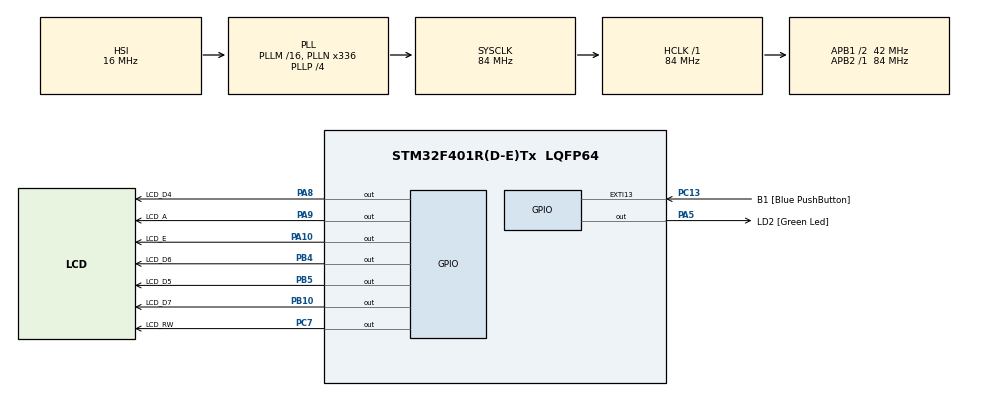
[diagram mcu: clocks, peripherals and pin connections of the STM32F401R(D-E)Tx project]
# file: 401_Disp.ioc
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Mcu.Family=STM32F4
Mcu.Name=STM32F401R(D-E)Tx
Mcu.Package=LQFP64
NVIC.PriorityGroup=NVIC_PRIORITYGROUP_0
PA10.GPIO_Label=LCD_E
PA10.Signal=GPIO_Output
PA13.GPIO_Label=TMS
PA13.Mode=Serial_Wire
PA13.Signal=SYS_JTMS-SWDIO
PA14.GPIO_Label=TCK
PA14.Mode=Serial_Wire
PA14.Signal=SYS_JTCK-SWCLK
PA5.GPIO_Label=LD2 [Green Led]
PA5.GPIO_Mode=GPIO_MODE_OUTPUT_PP
PA5.GPIO_PuPd=GPIO_NOPULL
PA5.GPIO_Speed=GPIO_SPEED_FREQ_LOW
PA5.Signal=GPIO_Output
PA8.GPIO_Label=LCD_D4
PA8.Signal=GPIO_Output
PA9.GPIO_Label=LCD_A
PA9.Signal=GPIO_Output
PB10.GPIO_Label=LCD_D7
PB10.Signal=GPIO_Output
PB3.GPIO_Label=SWO
PB3.Signal=SYS_JTDO-SWO
PB4.GPIO_Label=LCD_D6
PB4.Signal=GPIO_Output
PB5.GPIO_Label=LCD_D5
PB5.Signal=GPIO_Output
PC13-ANTI_TAMP.GPIO_Label=B1 [Blue PushButton]
PC13-ANTI_TAMP.GPIO_ModeDefaultEXTI=GPIO_MODE_IT_FALLING
PC13-ANTI_TAMP.GPIO_PuPd=GPIO_NOPULL
PC13-ANTI_TAMP.Signal=GPXTI13
PC14-OSC32_IN.Mode=LSE-External-Oscillator
PC14-OSC32_IN.Signal=RCC_OSC32_IN
PC15-OSC32_OUT.Mode=LSE-External-Oscillator
PC15-OSC32_OUT.Signal=RCC_OSC32_OUT
PC7.GPIO_Label=LCD_RW
PC7.Signal=GPIO_Output
PH0\ -\ OSC_IN.Mode=HSE-External-Clock-Source
PH0\ -\ OSC_IN.Signal=RCC_OSC_IN
PH1\ -\ OSC_OUT.Mode=HSE-External-Clock-Source
PH1\ -\ OSC_OUT.Signal=RCC_OSC_OUT
ProjectManager.HeapSize=0x200
ProjectManager.StackSize=0x400
ProjectManager.TargetToolchain=STM32CubeIDE
RCC.48MHZClocksFreq_Value=48000000
RCC.AHBFreq_Value=84000000
RCC.APB1CLKDivider=RCC_HCLK_DIV2
RCC.APB1Freq_Value=42000000
RCC.APB1TimFreq_Value=84000000
RCC.APB2Freq_Value=84000000
RCC.APB2TimFreq_Value=84000000
RCC.CortexFreq_Value=84000000
RCC.HCLKFreq_Value=84000000
RCC.HSE_VALUE=8000000
RCC.HSI_VALUE=16000000
RCC.PLLN=336
RCC.PLLP=RCC_PLLP_DIV4
RCC.PLLQ=7
RCC.SYSCLKFreq_VALUE=84000000
RCC.SYSCLKSource=RCC_SYSCLKSOURCE_PLLCLK
RCC.VCOOutputFreq_Value=336000000
board=NUCLEO-F401RE

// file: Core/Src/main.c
/* USER CODE BEGIN Header */
/**
  ******************************************************************************
  * @file           : main.c
  * @brief          : Main program body
  ******************************************************************************
  * @attention
  *
  * Copyright (c) 2023 STMicroelectronics.
  * All rights reserved.
  *
  * This software is licensed under terms that can be found in the LICENSE file
  * in the root directory of this software component.
  * If no LICENSE file comes with this software, it is provided AS-IS.
  *
  ******************************************************************************
  */
/* USER CODE END Header */
#include "main.h"

void SystemClock_Config(void);
static void MX_GPIO_Init(void);

int main(void)
{

  /* MCU Configuration--------------------------------------------------------*/

  /* Reset of all peripherals, Initializes the Flash interface and the Systick. */
  HAL_Init();

  /* Configure the system clock */
  SystemClock_Config();

  /* Initialize all configured peripherals */
  MX_GPIO_Init();
  /* USER CODE BEGIN 2 */

  HAL_GPIO_WritePin(LCD_RW_GPIO_Port, LCD_RW_Pin, 0);

  HAL_Delay(1000);

  void send_nibble(uint8_t nibble){
	  HAL_GPIO_WritePin(LCD_D4_GPIO_Port, LCD_D4_Pin, nibble & (1<<0));
	  HAL_GPIO_WritePin(LCD_D5_GPIO_Port, LCD_D5_Pin, nibble & (1<<1));
	  HAL_GPIO_WritePin(LCD_D6_GPIO_Port, LCD_D6_Pin, nibble & (1<<2));
	  HAL_GPIO_WritePin(LCD_D7_GPIO_Port, LCD_D7_Pin, nibble & (1<<3));

	  HAL_GPIO_WritePin(LCD_E_GPIO_Port, LCD_E_Pin, 1);
	  HAL_Delay(10);
	  HAL_GPIO_WritePin(LCD_E_GPIO_Port, LCD_E_Pin, 0);
	  HAL_Delay(10);
  }

  // Отправка команд дисплея
  void send_command(uint8_t command){
	  HAL_GPIO_WritePin(LCD_A_GPIO_Port, LCD_A_Pin, 0);

	  send_nibble(command>>4);
	  send_nibble(command);

  }

//  Отправка данных в дисплей (символов)
  void send_data(uint8_t data){
  	  HAL_GPIO_WritePin(LCD_A_GPIO_Port, LCD_A_Pin, 1);

  	  send_nibble(data>>4);
  	  send_nibble(data);

  }

  void set_cursor(uint8_t row, uint8_t position){
	  if(row == 1 && position <= 16){
		  send_command(0b10000000 + (position-1));
	  }
	  if(row == 2 && position <= 16){
		  send_command(0b11000000 + (position -1));
	  }
  }

  void init_display(uint8_t row, uint8_t position){
	  send_command(0b00110011);
	  send_command(0b00110010);
	  send_command(0b00101000);
	  send_command(0b00001111);
	  send_command(0b00000001);
	  send_command(0b00000110);

	  set_cursor(row, position);
  }

// Отправка строчки на латинице для вывода на дисплей
  void send_string(char *string){
	  for(uint8_t i = 0; string[i] != '\0'; ++i){
		  if(i % 15 == 0 && i != 0){
			  if(i % 30 == 0){
				  send_data(string[i]);
				  HAL_Delay(3000);
				  set_cursor(1, 1);
				  send_command(0b00000001);
			  }
			  else {
				  send_data(string[i]);
				  set_cursor(2, 1);
			  }
		  }
		  else {
			  send_data(string[i]);
		  }
	  }
  }

//  Инициализация Дисплея

  init_display(1, 1);

  send_string("How are you? My name is Nikolai! Oh my God, it's interesting! Bro, can you drop me money?");

  /* USER CODE END 2 */

  /* Infinite loop */
  while (1)
  {

  }
}

void SystemClock_Config(void)
{
  RCC_OscInitTypeDef RCC_OscInitStruct = {0};
  RCC_ClkInitTypeDef RCC_ClkInitStruct = {0};

  /** Configure the main internal regulator output voltage
  */
  __HAL_RCC_PWR_CLK_ENABLE();
  __HAL_PWR_VOLTAGESCALING_CONFIG(PWR_REGULATOR_VOLTAGE_SCALE2);
  /** Initializes the RCC Oscillators according to the specified parameters
  * in the RCC_OscInitTypeDef structure.
  */
  RCC_OscInitStruct.OscillatorType = RCC_OSCILLATORTYPE_HSI;
  RCC_OscInitStruct.HSIState = RCC_HSI_ON;
  RCC_OscInitStruct.HSICalibrationValue = RCC_HSICALIBRATION_DEFAULT;
  RCC_OscInitStruct.PLL.PLLState = RCC_PLL_ON;
  RCC_OscInitStruct.PLL.PLLSource = RCC_PLLSOURCE_HSI;
  RCC_OscInitStruct.PLL.PLLM = 16;
  RCC_OscInitStruct.PLL.PLLN = 336;
  RCC_OscInitStruct.PLL.PLLP = RCC_PLLP_DIV4;
  RCC_OscInitStruct.PLL.PLLQ = 7;
  if (HAL_RCC_OscConfig(&RCC_OscInitStruct) != HAL_OK)
  {
    Error_Handler();
  }
  /** Initializes the CPU, AHB and APB buses clocks
  */
  RCC_ClkInitStruct.ClockType = RCC_CLOCKTYPE_HCLK|RCC_CLOCKTYPE_SYSCLK
                              |RCC_CLOCKTYPE_PCLK1|RCC_CLOCKTYPE_PCLK2;
  RCC_ClkInitStruct.SYSCLKSource = RCC_SYSCLKSOURCE_PLLCLK;
  RCC_ClkInitStruct.AHBCLKDivider = RCC_SYSCLK_DIV1;
  RCC_ClkInitStruct.APB1CLKDivider = RCC_HCLK_DIV2;
  RCC_ClkInitStruct.APB2CLKDivider = RCC_HCLK_DIV1;

  if (HAL_RCC_ClockConfig(&RCC_ClkInitStruct, FLASH_LATENCY_2) != HAL_OK)
  {
    Error_Handler();
  }
}

static void MX_GPIO_Init(void)
{
  GPIO_InitTypeDef GPIO_InitStruct = {0};

  /* GPIO Ports Clock Enable */
  __HAL_RCC_GPIOC_CLK_ENABLE();
  __HAL_RCC_GPIOH_CLK_ENABLE();
  __HAL_RCC_GPIOA_CLK_ENABLE();
  __HAL_RCC_GPIOB_CLK_ENABLE();

  /*Configure GPIO pin Output Level */
  HAL_GPIO_WritePin(GPIOA, LD2_Pin|LCD_D4_Pin|LCD_A_Pin|LCD_E_Pin, GPIO_PIN_RESET);

  /*Configure GPIO pin Output Level */
  HAL_GPIO_WritePin(GPIOB, LCD_D7_Pin|LCD_D6_Pin|LCD_D5_Pin, GPIO_PIN_RESET);

  /*Configure GPIO pin Output Level */
  HAL_GPIO_WritePin(LCD_RW_GPIO_Port, LCD_RW_Pin, GPIO_PIN_RESET);

  /*Configure GPIO pin : B1_Pin */
  GPIO_InitStruct.Pin = B1_Pin;
  GPIO_InitStruct.Mode = GPIO_MODE_IT_FALLING;
  GPIO_InitStruct.Pull = GPIO_NOPULL;
  HAL_GPIO_Init(B1_GPIO_Port, &GPIO_InitStruct);

  /*Configure GPIO pins : LD2_Pin LCD_D4_Pin LCD_A_Pin LCD_E_Pin */
  GPIO_InitStruct.Pin = LD2_Pin|LCD_D4_Pin|LCD_A_Pin|LCD_E_Pin;
  GPIO_InitStruct.Mode = GPIO_MODE_OUTPUT_PP;
  GPIO_InitStruct.Pull = GPIO_NOPULL;
  GPIO_InitStruct.Speed = GPIO_SPEED_FREQ_LOW;
  HAL_GPIO_Init(GPIOA, &GPIO_InitStruct);

  /*Configure GPIO pins : LCD_D7_Pin LCD_D6_Pin LCD_D5_Pin */
  GPIO_InitStruct.Pin = LCD_D7_Pin|LCD_D6_Pin|LCD_D5_Pin;
  GPIO_InitStruct.Mode = GPIO_MODE_OUTPUT_PP;
  GPIO_InitStruct.Pull = GPIO_NOPULL;
  GPIO_InitStruct.Speed = GPIO_SPEED_FREQ_LOW;
  HAL_GPIO_Init(GPIOB, &GPIO_InitStruct);

  /*Configure GPIO pin : LCD_RW_Pin */
  GPIO_InitStruct.Pin = LCD_RW_Pin;
  GPIO_InitStruct.Mode = GPIO_MODE_OUTPUT_PP;
  GPIO_InitStruct.Pull = GPIO_NOPULL;
  GPIO_InitStruct.Speed = GPIO_SPEED_FREQ_LOW;
  HAL_GPIO_Init(LCD_RW_GPIO_Port, &GPIO_InitStruct);

}

void Error_Handler(void)
{
  __disable_irq();
  while (1)
  {
  }
}
